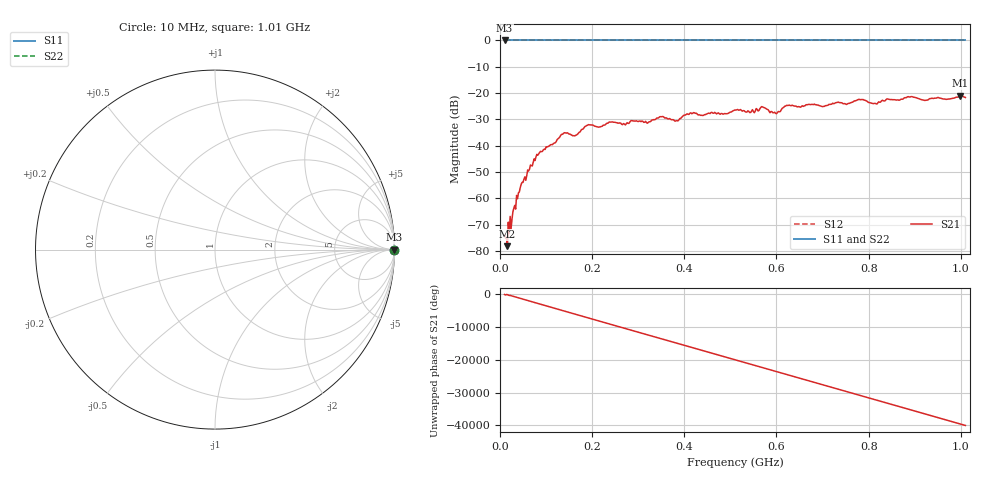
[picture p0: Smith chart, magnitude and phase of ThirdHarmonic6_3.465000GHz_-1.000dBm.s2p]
! 8/17/2025 11:13:50 AM
! C:\ANRITSUVNA\TEMP\TEMP.S2P
! CHANNEL.1
! TR.MEASUREMENT
! RAW.DATA
! RF.CORRECTION.OFF
! AVERAGING.OFF
! IF.BANDWIDTH: 5KHZ
! SWEEPTYPE:  FREQ.SWEEP(Linear)
! Reference Plane Port Info
! PORT:  PORT1  PORT2
! DISTANCE:  0  m  0  m
! TIME:  0  s  0  s
! PHASE.OFFSET:  0  deg.  0  deg.
! LOSS:  0  dB  0  dB
! REF.LOSS:  0  dB  0  dB
! REF.FREQ:  0  Hz  0  Hz
! Power Info
! POWER:  -20  dBm  -20  dBm
! EFF.POWER:  -20  dBm  -20  dBm
! SOURCE.ATTEN:  0  dB  0  dB
! TEST.ATTEN:  0  dB  0  dB
# GHZ S RI R 50.0
! FREQ.GHZ  S11RE  S11IM  S21RE  S21IM  S12RE  S12IM  S22RE  S22IM
!; PortSelection: Port_12
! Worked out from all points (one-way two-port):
!   501 points, 10 MHz to 1.01 GHz, reference 50 ohm
!   highest |S21| = -20.98 dB at 998 MHz (marker M1); lowest = -78.1 dB at 16 MHz (marker M2)
!   lowest |S11| = 0.0 dB at 10 MHz (marker M3)
!   |S11| at or under -10 dB: nowhere
!   |S22| runs from 0.0 to 0.0 dB; largest |S21 - S12| = 1.1
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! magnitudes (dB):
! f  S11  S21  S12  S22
! 10 MHz  0.0  -73.9  0.0  0.0
! 16 MHz  0.0  -78.1  0.0  0.0
! 44 MHz  0.0  -55.9  0.0  0.0
! 78 MHz  0.0  -44.3  0.0  0.0
! 136 MHz  0.0  -35.6  0.0  0.0
! 162 MHz  0.0  -36.3  0.0  0.0
! 178 MHz  0.0  -33.8  0.0  0.0
! 192 MHz  0.0  -32.0  0.0  0.0
! 322 MHz  0.0  -31.1  0.0  0.0
! 344 MHz  0.0  -29.5  0.0  0.0
! 384 MHz  0.0  -30.5  0.0  0.0
! 416 MHz  0.0  -27.8  0.0  0.0
! 510 MHz  0.0  -26.4  0.0  0.0
! 570 MHz  0.0  -25.3  0.0  0.0
! 598 MHz  0.0  -27.7  0.0  0.0
! 624 MHz  0.0  -24.7  0.0  0.0
! 678 MHz  0.0  -24.3  0.0  0.0
! 782 MHz  0.0  -22.5  0.0  0.0
! 814 MHz  0.0  -23.9  0.0  0.0
! 844 MHz  0.0  -22.4  0.0  0.0
! 998 MHz  0.0  -21.0  0.0  0.0
! 1.01 GHz  0.0  -21.7  0.0  0.0
